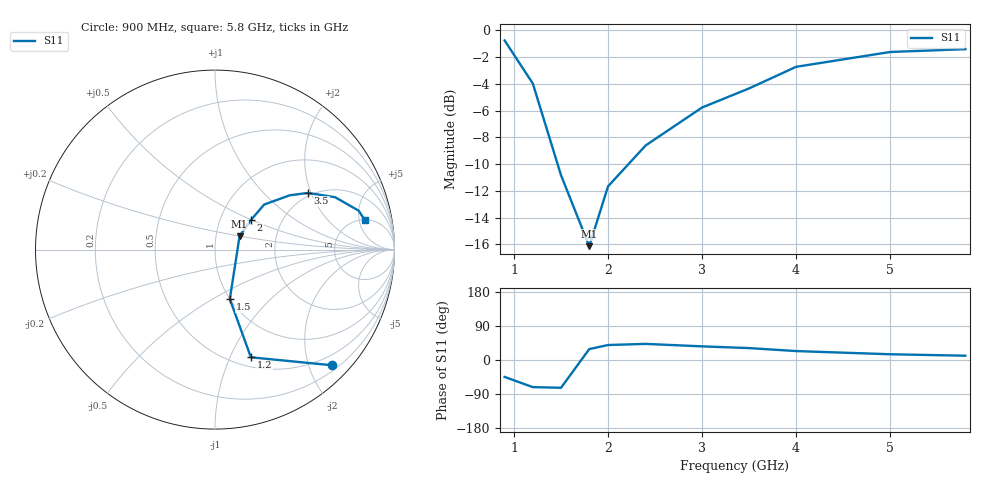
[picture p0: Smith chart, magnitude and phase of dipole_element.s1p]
! Half-wave dipole element S-parameter measurements
! Reference: 50 Ohm system
! Frequency sweep from 0.9 GHz to 5.8 GHz
# GHz S MA R 50
! Freq(GHz)  |S11|  Ang(S11)
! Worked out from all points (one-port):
!   11 points, 900 MHz to 5.8 GHz, reference 50 ohm
!   lowest |S11| = -16.1 dB at 1.8 GHz (marker M1), VSWR 1.37, Z = 65 + j10 ohm
!   |S11| at or under -10 dB: 1.464 GHz to 2.217 GHz (753.4 MHz wide, 40.9 % of centre)
!   S11 on the Smith chart (normalised r, x): 900 MHz: 0.30, -2.40; 1.2 GHz: 0.60, -1.20; 1.5 GHz: 1.00, -0.60; 2 GHz: 1.40, +0.50; 3.5 GHz: 1.90, +1.90; 5.8 GHz: 5.00, +6.00
0.9  0.9159 -44.7
1.2  0.6325 -71.6
1.5  0.2874 -73.3
1.8  0.1562 28.7
2  0.2613 39.6
2.4  0.3714 42.5
3  0.5146 36.0
3.5  0.6064 31.4
4  0.7302 23.6
5  0.8295 15.1
5.8  0.8498 11.3
